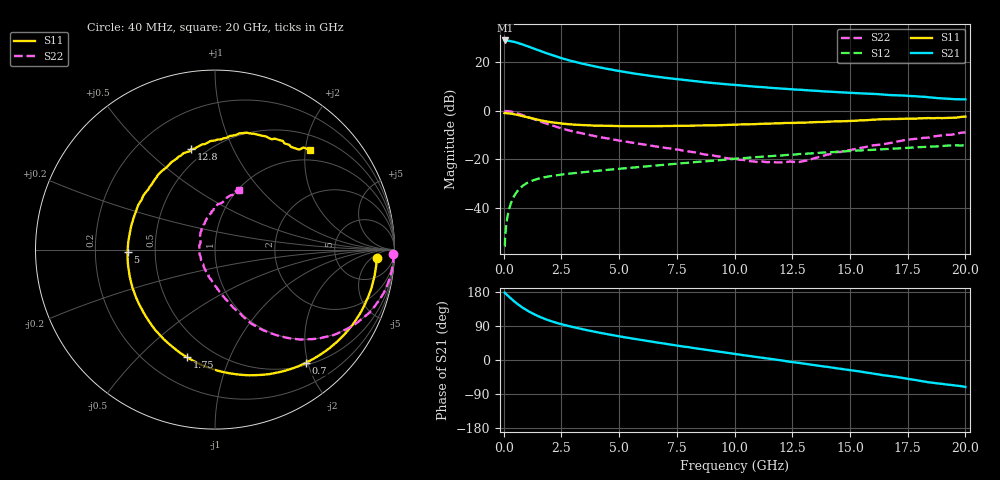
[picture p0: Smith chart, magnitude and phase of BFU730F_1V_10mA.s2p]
! Filename:  P:\Prog\Test\Noise\ATS_data\Testdata_Net\Split files Spar\BFU730_2W_B1_1V_1mA_30mA_Bias6_D.s2p
! Date/Time: Fri 29/Apr/2011 14:16:15
! BFU730_2W_B1_1V_1mA_30mA_Bias6_R.s2p
! MDIF S-parameter v. bias file
! BFU730_2W_B1_1V_1mA_30mA
! Date/time Thu Mar 17 14:34:31 2011
! VAR V_out= 1.0000
! VAR I_out= 10.0400
! VAR V_in= 0.8094
! VAR I_in= 0.0310
! Device data file deembeded for feedlines and parallel
! Original file: \Split files Spar\BFU730_2W_B1_1V_1mA_30mA_Bias6_R.s2p
! Feed-files: PR003V01_101208_Feed1.s2p, PR003V01_101208_Feed2.s2p
! Parallel-file: PR003V01_101208_Par.s2p
# MHz S MA R 50
!  Freq-MHz  S11-mag  S11-arg  S21-mag  S21-arg  S12-mag  S12-arg  S22-mag  S22-arg
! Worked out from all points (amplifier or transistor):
!   167 points, 40 MHz to 20 GHz, reference 50 ohm
!   highest |S21| = 29.1 dB at 50 MHz (marker M1)
!   |S21| within 3 dB of that: start of sweep to 1.208 GHz
!   unconditionally stable (mu >= 1): 5.673 GHz to 17.31 GHz; 17.48 GHz to 17.76 GHz
!   at 550 MHz: K = 0.12, MSG = 30.9 dB, |S12| = -33.6 dB
!   at 4.2 GHz: K = 0.84, MSG = 21.2 dB, |S12| = -24.6 dB
!   at 20 GHz: K = 0.90, MSG = 9.5 dB, |S12| = -14.2 dB
!   S11 on the Smith chart (normalised r, x): 40 MHz: 15, -8; 700 MHz: 0.54, -1.97; 1.75 GHz: 0.36, -0.71; 5 GHz: 0.34, -0.01; 12.8 GHz: 0.42, +0.70; 20 GHz: 0.78, +2.09
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40  0.9033 -3.1  28.28 178.0  0.001633 87.4  0.9945 -1.5
50  0.8985 -4.3  28.35 176.9  0.001637 87.7  0.9943 -2.1
240  0.8906 -18.4  27.86 166.3  0.009646 81.1  0.9812 -11.2
420  0.8646 -31.9  26.8 156.6  0.01648 73.8  0.9454 -19.3
600  0.8297 -44.6  25.43 147.8  0.02243 67.0  0.8939 -26.7
700  0.8096 -51.1  24.38 143.3  0.0253 63.5  0.8619 -30.6
800  0.7876 -57.7  23.66 139.0  0.02799 60.5  0.8315 -33.9
950  0.7564 -66.6  22.25 133.2  0.03138 56.4  0.7815 -38.5
1150  0.7146 -77.7  20.56 126.0  0.03518 51.9  0.7206 -43.9
1450  0.6615 -92.3  18.19 116.9  0.03956 46.5  0.6377 -50.5
1750  0.6194 -104.7  16.13 109.2  0.04288 42.6  0.5688 -55.6
2050  0.586 -115.5  14.35 102.6  0.04545 39.6  0.5097 -60.1
2400  0.5587 -126.5  12.66 96.1  0.04808 37.2  0.4522 -64.2
2800  0.5333 -137.3  11.15 89.8  0.05076 35.0  0.3994 -67.5
3400  0.5113 -150.7  9.457 81.4  0.05434 33.0  0.3448 -72.0
5000  0.4872 -178.7  6.65 62.5  0.0643 29.5  0.2453 -82.4
6800  0.4868 158.4  4.96 44.8  0.07642 25.8  0.1796 -94.7
10200  0.5273 125.1  3.377 14.3  0.105 15.5  0.09907 -138.9
12800  0.5753 103.3  2.739 -7.7  0.1293 4.4  0.08852 156.4
13400  0.5836 98.7  2.618 -13.0  0.1348 0.9  0.1041 143.4
16800  0.6807 71.5  2.117 -42.8  0.1656 -17.1  0.2206 92.1
20000  0.7652 46.5  1.732 -71.1  0.1959 -37.2  0.3608 67.8
